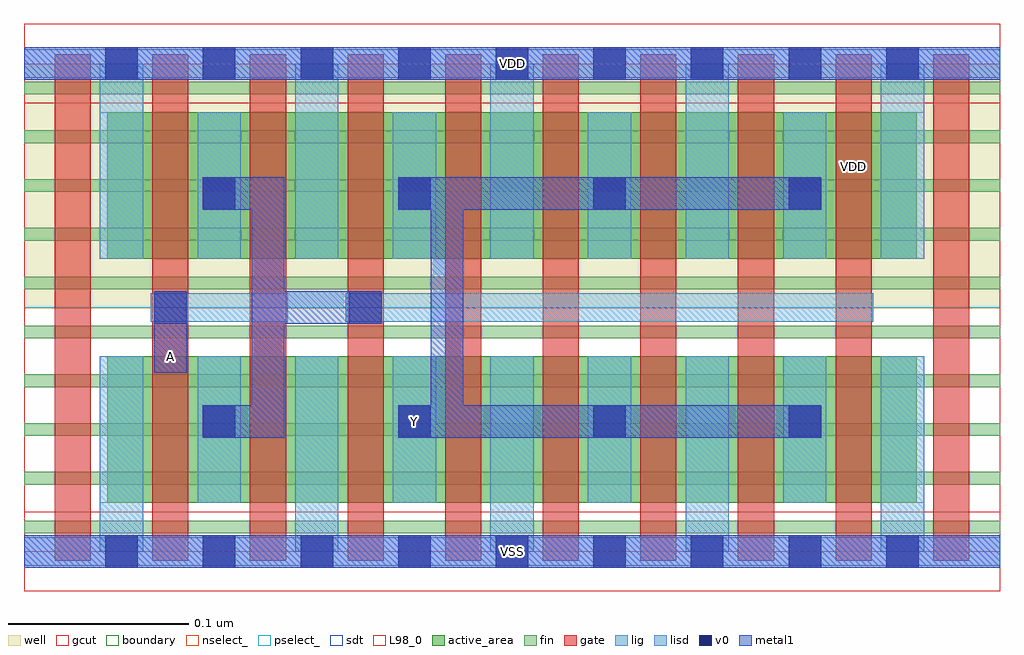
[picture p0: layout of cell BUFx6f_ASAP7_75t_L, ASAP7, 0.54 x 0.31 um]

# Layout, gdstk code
import gdstk
lib = gdstk.Library(unit=1e-6, precision=2.5e-10)
def R(c, l, rs):  # rectangles x0, y0, x1, y1
    for r in rs: c.add(gdstk.rectangle(r[:2], r[2:], *l))
def A(c, l, x, y, w, h, nx, ny, dx, dy):  # array of equal rectangles
    R(c, l, [(x+i*dx, y+j*dy, x+i*dx+w, y+j*dy+h) for i in range(nx) for j in range(ny)])
def P(c, l, *ps):  # polygons
    for p in ps: c.add(gdstk.Polygon(p, *l))
well = (1, 0)
fin = (2, 0)
gate = (7, 0)
gcut = (10, 0)
active_area = (11, 0)
nselect_ = (12, 0)
pselect_ = (13, 0)
lig = (16, 0)
lisd = (17, 0)
v0 = (18, 0)
metal1 = (19, 0)
sdt = (88, 0)
L98_0 = (98, 0)
boundary = (100, 0)

bufx6f_asap7_75t_l = lib.new_cell('BUFx6f_ASAP7_75t_L')
R(bufx6f_asap7_75t_l, well, [(0,0.135,0.54,0.27)])
A(bufx6f_asap7_75t_l, fin, 0, 0.01, 0.54, 0.007, 1, 10, 0, 0.027)
A(bufx6f_asap7_75t_l, gate, 0.017, -0.005, 0.02, 0.28, 10, 1, 0.054, 0)
R(bufx6f_asap7_75t_l, gcut, [(0,-0.022,0.54,0.022), (0,0.248,0.54,0.292)])
R(bufx6f_asap7_75t_l, active_area, [(0.046,0.027,0.494,0.108), (0.046,0.162,0.494,0.243)])
R(bufx6f_asap7_75t_l, nselect_, [(0,0,0.54,0.135)])
R(bufx6f_asap7_75t_l, pselect_, [(0,0.135,0.54,0.27)])
R(bufx6f_asap7_75t_l, lig, [(0,-0.008,0.54,0.008), (0.07,0.127,0.146,0.143), (0.178,0.127,0.47,0.143), (0,0.262,0.54,0.278)])
A(bufx6f_asap7_75t_l, lisd, 0.042, 0, 0.024, 0.108, 5, 2, 0.108, 0.162)
A(bufx6f_asap7_75t_l, lisd, 0.096, 0.027, 0.024, 0.081, 4, 2, 0.108, 0.135)
A(bufx6f_asap7_75t_l, v0, 0.045, -0.009, 0.018, 0.018, 9, 2, 0.054, 0.27)
A(bufx6f_asap7_75t_l, v0, 0.099, 0.063, 0.018, 0.018, 4, 2, 0.108, 0.126)
R(bufx6f_asap7_75t_l, v0, [(0.072,0.126,0.09,0.144), (0.18,0.126,0.198,0.144)])
R(bufx6f_asap7_75t_l, metal1, [(0,-0.009,0.54,0.009), (0.072,0.099,0.09,0.144), (0,0.261,0.54,0.279)])
P(bufx6f_asap7_75t_l, metal1, [(0.441,0.207),(0.207,0.207),(0.207,0.189),(0.225,0.189),(0.225,0.081),(0.207,0.081),(0.207,0.063),(0.441,0.063),(0.441,0.081),(0.243,0.081),(0.243,0.189),(0.441,0.189)],
  [(0.144,0.126),(0.198,0.126),(0.198,0.144),(0.144,0.144),(0.144,0.207),(0.099,0.207),(0.099,0.189),(0.126,0.189),(0.126,0.081),(0.099,0.081),(0.099,0.063),(0.144,0.063)])
A(bufx6f_asap7_75t_l, sdt, 0.042, 0.027, 0.024, 0.081, 9, 2, 0.054, 0.135)
R(bufx6f_asap7_75t_l, L98_0, [(0,0,0.54,0.27)])
R(bufx6f_asap7_75t_l, boundary, [(0,0,0.54,0.27)])
bufx6f_asap7_75t_l.add(gdstk.Label('A', (0.081,0.108), layer=19, texttype=251))
bufx6f_asap7_75t_l.add(gdstk.Label('Y', (0.216,0.072), layer=19, texttype=251))
bufx6f_asap7_75t_l.add(gdstk.Label('VSS', (0.27,0), layer=19, texttype=251))
bufx6f_asap7_75t_l.add(gdstk.Label('VDD', (0.27,0.27), layer=19, texttype=251))
bufx6f_asap7_75t_l.add(gdstk.Label('VDD', (0.459,0.213), layer=1, texttype=251))
bufx6f_asap7_75t_l.add(gdstk.Label('VSS', (0.621,0.213), layer=3, texttype=251))

lib.write_gds('BUFx6f_ASAP7_75t_L.gds')
